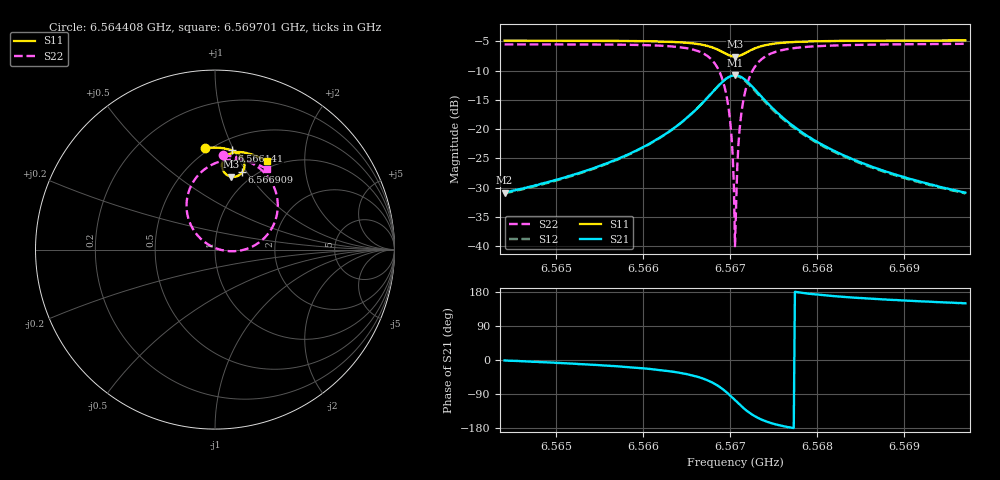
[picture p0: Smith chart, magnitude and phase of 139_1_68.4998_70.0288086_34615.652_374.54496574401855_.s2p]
#  HZ  S  RI  R  50.00
! Rohde & Schwarz Vector Network Analyzer
! Rohde-Schwarz,ZNB20-2Port,1311601062101988,3.16
! Created: UTC 3/20/2024, 4:54:47 PM
! freq[Hz]  re:S11  im:S11  re:S21  im:S21  re:S12  im:S12  re:S22  im:S22
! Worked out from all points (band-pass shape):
!   401 points, 6.564408 GHz to 6.569701 GHz, reference 50 ohm
!   highest |S21| = -10.81 dB at 6.567055 GHz (marker M1); lowest = -30.8 dB at 6.564408 GHz (marker M2)
!   |S21| within 3 dB of the highest: 6.566789 GHz to 6.567319 GHz (530.3 kHz wide, 0.00807 % of centre)
!   lowest |S11| = -7.6 dB at 6.567055 GHz (marker M3), VSWR 2.43, Z = 41.4 + j40.8 ohm
!   |S11| at or under -10 dB: nowhere
!   |S22| runs from -40.0 to -5.4 dB; largest |S21 - S12| = 0.014
!   S11 on the Smith chart (normalised r, x): 6.564408 GHz: 0.47, +0.79; 6.566141 GHz: 0.61, +0.98; 6.566909 GHz: 0.87, +0.95; 6.569701 GHz: 0.90, +1.32
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6.5644078e9  -0.0584 0.5663  0.0287 -0.000637  0.0283 -0.00113  0.0433 0.5265
6.5652945e9  0.0147 0.5679  0.0421 -0.0083  0.0415 -0.00878  0.1287 0.5121
6.5661414e9  0.0948 0.5527  0.073 -0.0342  0.0717 -0.0351  0.2425 0.4572
6.5661811e9  0.0991 0.551  0.0752 -0.0369  0.074 -0.0379  0.2498 0.4518
6.5666972e9  0.1594 0.4963  0.111 -0.1315  0.1083 -0.134  0.3491 0.2675
6.5668163e9  0.1642 0.463  0.1 -0.19  0.0949 -0.1935  0.3337 0.1561
6.566909e9  0.1515 0.4305  0.0607 -0.2455  0.0519 -0.2485  0.2616 0.0525
6.5669487e9  0.139 0.4178  0.0306 -0.266  0.02 -0.2676  0.2061 0.016
6.5669884e9  0.122 0.4087  -0.0074 -0.2795  -0.0193 -0.2788  0.1365 -0.00608
6.5670148e9  0.1087 0.4057  -0.0357 -0.2828  -0.0482 -0.28  0.0852 -0.00933
6.5670281e9  0.1017 0.4053  -0.0502 -0.2823  -0.0629 -0.2784  0.0591 -0.00682
6.5670413e9  0.0946 0.4057  -0.0649 -0.2804  -0.0773 -0.2753  0.0333 -0.00167
6.5670545e9  0.0877 0.4068  -0.0794 -0.277  -0.0916 -0.2707  0.00798 0.0061
6.567081e9  0.0746 0.4114  -0.1068 -0.2661  -0.118 -0.2578  -0.039 0.0292
6.5671075e9  0.0628 0.4187  -0.1312 -0.2502  -0.1408 -0.2402  -0.0793 0.0603
6.5671339e9  0.0532 0.4281  -0.1514 -0.2309  -0.1589 -0.2197  -0.1115 0.0972
6.5671869e9  0.0416 0.4499  -0.1772 -0.187  -0.1812 -0.1751  -0.1495 0.1775
6.567253e9  0.0394 0.4767  -0.1873 -0.1347  -0.1873 -0.124  -0.1575 0.2699
6.5675045e9  0.0774 0.5308  -0.1435 -0.0283  -0.1403 -0.024  -0.0562 0.4488
6.5679412e9  0.1404 0.5432  -0.0821 0.00866  -0.0801 0.00995  0.0821 0.5008
6.5688278e9  0.2241 0.5234  -0.0398 0.0152  -0.039 0.0155  0.2129 0.4836
6.5697013e9  0.2891 0.4925  -0.0248 0.0145  -0.0242 0.0146  0.2907 0.4483
